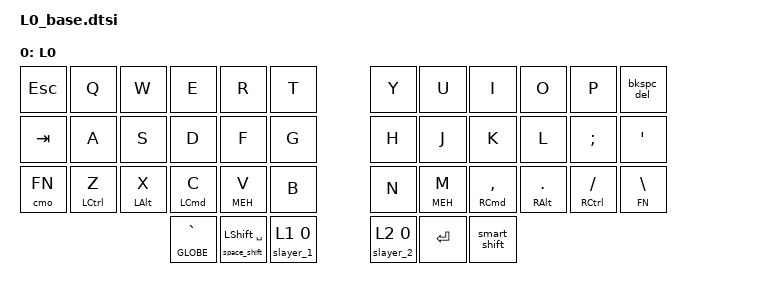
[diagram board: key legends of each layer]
#define SP &space_shift LSHIFT SPACE
/ {
  keymap {
    compatible = "zmk,keymap";

    l0_base {
      label = "L0";
      bindings = <
//  ╭────────────────┬────────────────┬────────────────┬────────────────┬────────────────┬────────────────╮    ╭────────────────┬────────────────┬────────────────┬────────────────┬────────────────┬────────────────╮
//  │0               │1               │2               │3               │4               │5               │    │6               │7               │8               │9               │10              │11              │
     &kp ESC          &kp Q            &kp W            &kp E            &kp R            &kp T                 &kp Y            &kp U            &kp I            &kp O            &kp P            &bkspc_del       
//  ├────────────────┼────────────────┼────────────────┼────────────────┼────────────────┼────────────────┤    ├────────────────┼────────────────┼────────────────┼────────────────┼────────────────┼────────────────┤
//  │12              │13              │14              │15              │16              │17              │    │18              │19              │20              │21              │22              │23              │
     &kp TAB          &kp A            &kp S            &kp D            &kp F            &kp G                 &kp H            &kp J            &kp K            &kp L            &kp SEMICOLON    &kp SQT          
//  ├────────────────┼────────────────┼────────────────┼────────────────┼────────────────┼────────────────┤    ├────────────────┼────────────────┼────────────────┼────────────────┼────────────────┼────────────────┤
//  │24              │25              │26              │27              │28              │29              │    │30              │31              │32              │33              │34              │35              │
     &cmo FN          &mt LCTRL Z      &mt LALT X       &mt LCMD C       &mt MEH V        &kp B                 &kp N            &mt MEH M        &mt RCMD COMMA   &mt RALT DOT     &mt RCTRL SLASH  &lt FN BACKSLASH 
//  ╰────────────────┴────────────────┴────────────────┼────────────────┼────────────────┼────────────────┤    ├────────────────┼────────────────┼────────────────┼────────────────┴────────────────┴────────────────╯
//                                                     │36              │37              │38              │    │39              │40              │41              │
                                                        &mt GLOBE GRAVE  SP     &slayer_1 L1 0             &slayer_2 L2 0         &kp ENTER        &smart_shift     
//                                                     ╰────────────────┴────────────────┴────────────────╯    ╰────────────────┴────────────────┴────────────────╯
      >;
    };
  };
};
